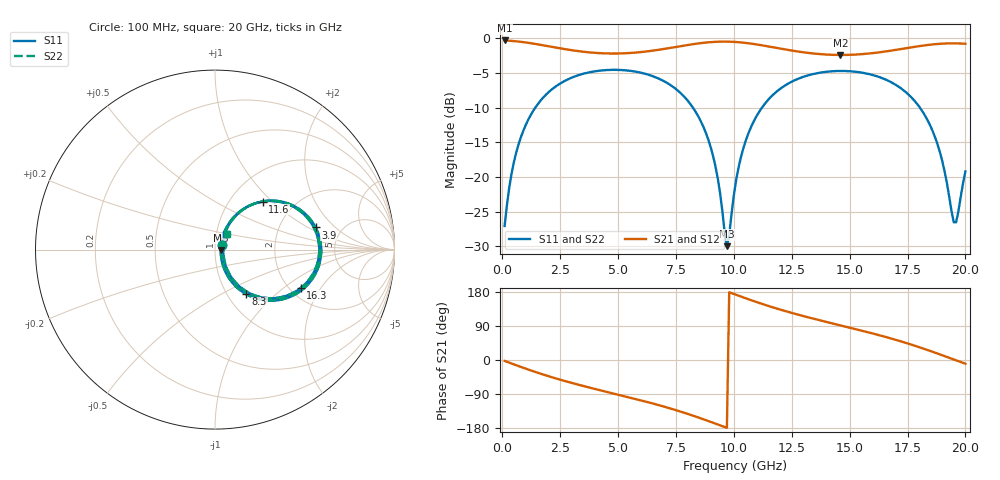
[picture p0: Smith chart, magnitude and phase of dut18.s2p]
! Touchstone file exported from HFSS 2026.1.0
!  File:  C:/ffzhzh/LocalFiles/Ansys_Project_Files/temp_val_TSV_RDL_18_1782977224_6388.aedt
!  Generated:  03:41:53 PM Jul  2, 2026
!  Design:  TSV_RDL
!  Project:  temp_val_TSV_RDL_18_1782977224_6388
! Variables:
!  h_bsmrdl = 2.83um
!  h_ox = 20um
!  h_rdl = 5um
!  h_sub = 96.6um
!  h_tmrdl = 3.84um
!  h_tsv = 96.6um
!  h_via = 3um
!  l_bsmrdl = 566.38um
!  l_sub = 5965.09um
!  l_tmrdl = 942.72um
!  m_sub = 200um
!  pitch = 52.68um
!  r_tsv = 11.94um
!  s_tmrdl = 10um
!  w_bsmrdl = 10.71um
!  w_sub = 500um
!  w_tmrdl = 20.98um
!  x_tsv_center1 = 953.21um
!  x_tsv_center2 = 1530.3um
!  x_tsv_center3 = 2494um
!  x_tsv_center4 = 3071.09um
!  x_tsv_center5 = 4034.79um
!  x_tsv_center6 = 4611.88um
# GHz S MA R 50.000000
! Terminal data exported
! Port[1] = TM_RDL1_1_T1
! Port[2] = TM_RDL5_1_T1
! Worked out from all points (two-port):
!   200 points, 100 MHz to 20 GHz, reference 50 ohm
!   highest |S21| = -0.32 dB at 100 MHz (marker M1); lowest = -2.4 dB at 14.6 GHz (marker M2)
!   |S21| within 3 dB of the highest: start of sweep to end of sweep
!   lowest |S11| = -30.0 dB at 9.7 GHz (marker M3), VSWR 1.07, Z = 53.3 - j0.268 ohm
!   |S11| at or under -10 dB: start of sweep to 1.427 GHz; 8.232 GHz to 11.21 GHz (2.982 GHz wide, 30.7 % of centre); 18.03 GHz to end of sweep
!   |S22| runs from -29.8 to -4.6 dB; largest |S21 - S12| = 1.7e-14
!   S11 on the Smith chart (normalised r, x): 100 MHz: 1.08, +0.05; 3.9 GHz: 3.22, +1.19; 8.3 GHz: 1.22, -0.67; 11.6 GHz: 1.41, +0.88; 16.3 GHz: 2.28, -1.34; 20 GHz: 1.12, +0.20
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0.1  0.04439 32.8  0.9634 -2.4  0.9634 -2.4  0.04439 32.8
! Gamma 0 0 0 0
! Port Impedance 50 0 50 0
0.5  0.1279 60.5  0.9533 -11.6  0.9533 -11.6  0.1279 60.5
1.1  0.2547 56.2  0.9275 -24.7  0.9275 -24.7  0.2547 56.2
2.1  0.4225 40.2  0.8688 -44.7  0.8688 -44.7  0.4224 40.2
3.5  0.5548 18.3  0.7988 -68.6  0.7988 -68.6  0.5548 18.3
3.9  0.5739 12.4  0.7867 -74.8  0.7867 -74.8  0.5739 12.5
5.3  0.5873 -7.5  0.7789 -95.9  0.7789 -95.9  0.5873 -7.4
6.8  0.5079 -29.9  0.8275 -119.8  0.8275 -119.8  0.5079 -29.9
8.3  0.3042 -55.0  0.909 -148.2  0.909 -148.2  0.3042 -54.9
9.1  0.1425 -64.9  0.9396 -165.5  0.9396 -165.5  0.1426 -64.6
9.7  0.03177 -4.5  0.945 -179.0  0.945 -179.0  0.03246 -4.3
10.1  0.09501 60.9  0.9388 172.0  0.9388 172.0  0.0953 60.5
10.7  0.2206 59.3  0.9164 158.8  0.9164 158.8  0.2208 59.2
11.6  0.3778 45.1  0.866 140.5  0.866 140.5  0.3779 45.1
13.4  0.5507 17.1  0.7772 109.6  0.7772 109.6  0.5508 17.1
14.6  0.5809 0.2  0.7575 91.4  0.7575 91.4  0.5809 0.2
16.3  0.5237 -24.1  0.792 65.1  0.792 65.1  0.5238 -24.0
16.7  0.491 -30.1  0.8094 58.4  0.8094 58.4  0.4911 -30.0
18.5  0.2311 -57.4  0.8989 23.5  0.8989 23.5  0.2312 -57.1
19  0.1305 -58.8  0.9139 12.6  0.9139 12.6  0.1309 -58.3
19.5  0.04721 -13.7  0.9186 1.4  0.9186 1.4  0.04838 -13.3
20  0.1098 54.4  0.9119 -9.8  0.9119 -9.8  0.1104 53.9
